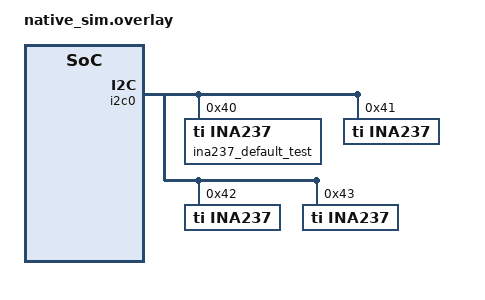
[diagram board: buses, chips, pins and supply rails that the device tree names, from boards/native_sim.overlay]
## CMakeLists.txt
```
# Copyright (c) 2023 North River Systems Ltd
# SPDX-License-Identifier: Apache-2.0

cmake_minimum_required(VERSION 3.20.0)
find_package(Zephyr REQUIRED HINTS $ENV{ZEPHYR_BASE})
project(device)

FILE(GLOB app_sources src/*.c)
target_sources(app PRIVATE ${app_sources})

# Include the INA23x driver path and unit-test path for private header inclusion
zephyr_include_directories(./src)
zephyr_include_directories(${ZEPHYR_BASE}/drivers/sensor/ti/ina23x)
```

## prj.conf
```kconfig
# Copyright (c) 2023 North River Systems Ltd
# SPDX-License-Identifier: Apache-2.0

CONFIG_ZTEST=y
CONFIG_SENSOR=y
CONFIG_EMUL=y

CONFIG_I2C_EMUL=y
CONFIG_I2C_LOG_LEVEL_DBG=y

CONFIG_INA237=y
CONFIG_INA237_VSHUNT=y

CONFIG_CBPRINTF_FP_SUPPORT=y
```

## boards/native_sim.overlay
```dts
/* Copyright (c) 2023 North River Systems Ltd
 * SPDX-License-Identifier: Apache-2.0
 */

#include <zephyr/dt-bindings/sensor/ina237.h>

&i2c0 {
	status = "okay";

	/* standard precision mode */
	ina237_default_test: ina237@40 {
		compatible = "ti,ina237";
		reg = <0x40>;
		rshunt-micro-ohms = <400>;
		current-lsb-microamps = <123>;
		status = "okay";
	};

	/* high precision mode */
	ina237@41 {
		compatible = "ti,ina237";
		reg = <0x41>;
		high-precision;
		rshunt-micro-ohms = <400>;
		current-lsb-microamps = <123>;
		status = "okay";
	};

	/* high precision mode, maximum current lsb */
	ina237@42 {
		compatible = "ti,ina237";
		reg = <0x42>;
		high-precision;
		rshunt-micro-ohms = <0x00ff>;
		current-lsb-microamps = <0xffff>;
		status = "okay";
	};

	/* high precision mode, maximum rshunt */
	ina237@43 {
		compatible = "ti,ina237";
		reg = <0x43>;
		high-precision;
		rshunt-micro-ohms = <0xffff>;
		current-lsb-microamps = <0x00ff>;
		status = "okay";
	};
};
```

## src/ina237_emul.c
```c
/*
 * Copyright (c) 2023 North River Systems Ltd
 *
 * SPDX-License-Identifier: Apache-2.0
 *
 * Emulator for the TI INA237 I2C power monitor
 */
#define DT_DRV_COMPAT ti_ina237

#include <zephyr/device.h>
#include <zephyr/drivers/emul.h>
#include <zephyr/drivers/i2c_emul.h>
#include <zephyr/drivers/i2c.h>
#include <zephyr/logging/log.h>
#include <zephyr/sys/byteorder.h>
#include <ina237.h>
#include <ina237_emul.h>

LOG_MODULE_REGISTER(INA237_EMUL, CONFIG_SENSOR_LOG_LEVEL);

/* Register ID, size, and value table */
struct ina237_reg {
	uint8_t id;
	uint8_t bytes;
	uint32_t value;
};

/* Emulator configuration passed into driver instance */
struct ina237_emul_cfg {
	uint16_t addr;
};

struct ina237_emul_data {
	struct ina237_reg ina237_regs[INA237_REGISTER_COUNT];
};

static struct ina237_reg *get_register(struct ina237_emul_data *data, int reg)
{
	for (int i = 0; i < INA237_REGISTER_COUNT; i++) {
		if (data->ina237_regs[i].id == reg) {
			return &data->ina237_regs[i];
		}
	}
	return NULL;
}

int ina237_mock_set_register(void *data_ptr, int reg, uint32_t value)
{
	struct ina237_reg *reg_ptr = get_register(data_ptr, reg);

	if (reg_ptr == NULL) {
		return -EINVAL;
	}

	reg_ptr->value = value;
	return 0;
}

int ina237_mock_get_register(void *data_ptr, int reg, uint32_t *value_ptr)
{
	struct ina237_reg *reg_ptr = get_register(data_ptr, reg);

	if (reg_ptr == NULL || value_ptr == NULL) {
		return -EINVAL;
	}

	*value_ptr = reg_ptr->value;
	return 0;
}

static int ina237_emul_transfer_i2c(const struct emul *target, struct i2c_msg msgs[], int num_msgs,
				    int addr)
{
	struct ina237_emul_data *data = (struct ina237_emul_data *)target->data;

	/* The INA237 uses big-endian read 16, read 24, and write 16 transactions */
	if (!msgs || num_msgs < 1 || num_msgs > 2) {
		LOG_ERR("Invalid number of messages: %d", num_msgs);
		return -EIO;
	}

	if (msgs[0].flags & I2C_MSG_READ) {
		LOG_ERR("Expected write");
		return -EIO;
	}

	if (num_msgs == 1) {
		/* Write16 Transaction */
		if (msgs[0].len != 3) {
			LOG_ERR("Expected 3 bytes");
			return -EIO;
		}

		/* Write 2 bytes */
		uint8_t reg = msgs[0].buf[0];
		uint16_t val = sys_get_be16(&msgs[0].buf[1]);

		struct ina237_reg *reg_ptr = get_register(data, reg);

		if (!reg_ptr) {
			LOG_ERR("Invalid register: %02x", reg);
			return -EIO;
		}
		reg_ptr->value = val;
		LOG_DBG("Write reg %02x: %04x", reg, val);
	} else {
		/* Read 2 or 3 bytes */
		if ((msgs[1].flags & I2C_MSG_READ) == I2C_MSG_WRITE) {
			LOG_ERR("Expected read");
			return -EIO;
		}
		uint8_t reg = msgs[0].buf[0];

		struct ina237_reg *reg_ptr = get_register(data, reg);

		if (!reg_ptr) {
			LOG_ERR("Invalid register: %02x", reg);
			return -EIO;
		}

		if (msgs[1].len == 2) {
			sys_put_be16(reg_ptr->value, msgs[1].buf);
			LOG_DBG("Read16 reg %02x: %04x", reg, reg_ptr->value);
		} else if (msgs[1].len == 3) {
			sys_put_be24(reg_ptr->value, msgs[1].buf);
			LOG_DBG("Read24 reg %02x: %06x", reg, reg_ptr->value);
		} else {
			LOG_ERR("Invalid read length: %d", msgs[1].len);
			return -EIO;
		}
	}

	return 0;
}

static int ina237_emul_init(const struct emul *target, const struct device *parent)
{
	ARG_UNUSED(target);
	ARG_UNUSED(parent);

	return 0;
}

static const struct i2c_emul_api ina237_emul_api_i2c = {
	.transfer = ina237_emul_transfer_i2c,
};

#define INA237_EMUL(n)									\
	static const struct ina237_emul_cfg ina237_emul_cfg_##n = {			\
		.addr = DT_INST_REG_ADDR(n)						\
	};										\
	static struct ina237_emul_data ina237_emul_data_##n = {				\
		.ina237_regs = {							\
			{INA237_REG_CONFIG, 2, 0},					\
			{INA237_REG_ADC_CONFIG, 2, 0xFB68},				\
			{INA237_REG_CALIB, 2, 0x1000},					\
			{INA237_REG_SHUNT_VOLT, 2, 0},					\
			{INA237_REG_BUS_VOLT, 2, 0},					\
			{INA237_REG_DIETEMP, 2, 0},					\
			{INA237_REG_CURRENT, 2, 0},					\
			{INA237_REG_POWER, 3, 0},					\
			{INA237_REG_ALERT, 2, 0x0001},					\
			{INA237_REG_SOVL, 2, 0x7FFF},					\
			{INA237_REG_SUVL, 2, 0x8000},					\
			{INA237_REG_BOVL, 2, 0x7FFF},					\
			{INA237_REG_BUVL, 2, 0},					\
			{INA237_REG_TEMP_LIMIT, 2, 0x7FFF},				\
			{INA237_REG_PWR_LIMIT, 2, 0xFFFF},				\
			{INA237_REG_MANUFACTURER_ID, 2, INA237_MANUFACTURER_ID},	\
		}};									\
	EMUL_DT_INST_DEFINE(n, ina237_emul_init, &ina237_emul_data_##n, &ina237_emul_cfg_##n, \
			    &ina237_emul_api_i2c, NULL)

DT_INST_FOREACH_STATUS_OKAY(INA237_EMUL)
```

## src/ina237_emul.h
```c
/*
 * Copyright (c) 2023 North River Systems Ltd
 *
 * SPDX-License-Identifier: Apache-2.0
 *
 * Emulator for the TI INA237 I2C power monitor
 */
#ifndef INA237_EMUL_H_
#define INA237_EMUL_H_

#define INA237_REGISTER_COUNT 16

int ina237_mock_set_register(void *data_ptr, int reg, uint32_t value);
int ina237_mock_get_register(void *data_ptr, int reg, uint32_t *value_ptr);

#endif /* INA237_EMUL_H_ */
```

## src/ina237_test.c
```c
/*
 * Copyright (c) 2023 North River Systems Ltd
 * SPDX-License-Identifier: Apache-2.0
 */

#include <zephyr/device.h>
#include <zephyr/devicetree.h>
#include <zephyr/drivers/emul.h>
#include <zephyr/drivers/i2c_emul.h>
#include <zephyr/drivers/sensor.h>
#include <zephyr/dt-bindings/sensor/ina237.h>
#include <zephyr/ztest.h>

#include <ina237_emul.h>
#include <ina237.h>

struct ina237_fixture {
	const struct device *dev;
	const struct emul *mock;
	const uint16_t current_lsb_uA;
	const uint16_t rshunt_uOhms;
	const uint16_t config;
};

/**
 * @brief Verify devicetree default configuration is correct.
 */
ZTEST(ina237_0, test_default_config)
{
	const struct ina237_config *config;
	const struct device *dev = DEVICE_DT_GET(DT_NODELABEL(ina237_default_test));

	zassert_not_null(dev);
	config = dev->config;
	zassert_not_null(config);

	/* confirm default DT settings */
	zexpect_equal(0xFB68, config->adc_config,
		"0xFB68 != adc_config (0x%x)", config->adc_config);
	zexpect_equal(0x0000, config->config);
}

/**
 * @brief Verify bus voltages for all ina237 nodes in DT
 *
 * @param fixture
 */

static void test_shunt_cal(struct ina237_fixture *fixture)
{
	/* Confirm SHUNT_CAL register which is 819.2e6 * Current_LSB * Rshunt */
	double shunt_cal = 819.2e6 * fixture->current_lsb_uA * 1e-6 * fixture->rshunt_uOhms * 1e-6;

	if (fixture->config & INA237_CFG_HIGH_PRECISION) {
		/* High precision mode */
		shunt_cal *= 4;
	}

	uint32_t shunt_register_actual;
	uint16_t shunt_register_expected = (uint16_t)shunt_cal;

	zassert_ok(ina237_mock_get_register(fixture->mock->data, INA237_REG_CALIB,
		&shunt_register_actual));
	zexpect_within(shunt_register_expected, shunt_register_actual, 1,
		"Expected %d, got %d", shunt_register_expected, shunt_register_actual);
}

static void test_current(struct ina237_fixture *fixture)
{
	/* 16-bit signed value for current register */
	const int16_t current_reg_vectors[] = {
		32767,
		1000,
		100,
		1,
		0,
		-1,
		-100,
		-1000,
		-32768,
	};

	for (int idx = 0; idx < ARRAY_SIZE(current_reg_vectors); idx++) {
		struct sensor_value sensor_val;
		int16_t current_register = current_reg_vectors[idx];
		double current_expected_A = fixture->current_lsb_uA * 1e-6 * current_register;

		/* set current reading */
		ina237_mock_set_register(fixture->mock->data, INA237_REG_CURRENT, current_register);

		/* Verify sensor value is correct */
		zassert_ok(sensor_sample_fetch(fixture->dev));
		zassert_ok(sensor_channel_get(fixture->dev, SENSOR_CHAN_CURRENT, &sensor_val));
		double current_actual_A = sensor_value_to_double(&sensor_val);

		zexpect_within(current_expected_A, current_actual_A, fixture->current_lsb_uA*1e-6,
			"Expected %.6f A, got %.6f A", current_expected_A, current_actual_A);
	}
}

static void test_bus_voltage(struct ina237_fixture *fixture)
{
	zassert_not_null(fixture->mock);

	/* 16-bit signed value for voltage register (but always positive) 3.125 mV/bit */
	const int16_t voltage_reg_vectors[] = {
		32767,
		27200,	/* 85V maximum voltage */
		1000,
		100,
		1,
		0,
	};

	for (int idx = 0; idx < ARRAY_SIZE(voltage_reg_vectors); idx++) {
		struct sensor_value sensor_val;

		ina237_mock_set_register(fixture->mock->data, INA237_REG_BUS_VOLT,
			voltage_reg_vectors[idx]);

		/* Verify sensor value is correct */
		zassert_ok(sensor_sample_fetch(fixture->dev));
		zassert_ok(sensor_channel_get(fixture->dev, SENSOR_CHAN_VOLTAGE, &sensor_val));

		double voltage_actual_V = sensor_value_to_double(&sensor_val);
		double voltage_expected_V = voltage_reg_vectors[idx] * 3.125e-3;

		zexpect_within(voltage_expected_V, voltage_actual_V, 1e-6,
			"Expected %.6f A, got %.6f A", voltage_expected_V, voltage_actual_V);
	}
}

static void test_power(struct ina237_fixture *fixture)
{
	/* 24-bit unsigned value for power register */
	const uint32_t power_reg_vectors[] = {
		16777215,
		65535,
		32767,
		1000,
		100,
		1,
		0,
	};

	for (int idx = 0; idx < ARRAY_SIZE(power_reg_vectors); idx++) {
		struct sensor_value sensor_val;
		uint32_t power_register = power_reg_vectors[idx];

		/* power is 0.2 * current_lsb * register */
		double power_expected_W = 0.2 * fixture->current_lsb_uA * 1e-6 * power_register;

		/* set current reading */
		ina237_mock_set_register(fixture->mock->data, INA237_REG_POWER, power_register);

		/* Verify sensor value is correct */
		zassert_ok(sensor_sample_fetch(fixture->dev));
		zassert_ok(sensor_channel_get(fixture->dev, SENSOR_CHAN_POWER, &sensor_val));
		double power_actual_W = sensor_value_to_double(&sensor_val);

		zexpect_within(power_expected_W, power_actual_W, 1e-6,
			"Expected %.6f C, got %.6f C", power_expected_W, power_actual_W);
	}
}

static void test_temperature(struct ina237_fixture *fixture)
{
	zassert_not_null(fixture->mock);

	/* 12-bit signed value with bottom 4-bits reserved - 125 mDegC / bit */
	const int16_t temp_reg_vectors[] = {
		16000,	/* 125C */
		1000,
		100,
		1,
		0,
		-100,
		-1000,
		-5120,	/* -40C */
	};

	for (int idx = 0; idx < ARRAY_SIZE(temp_reg_vectors); idx++) {
		struct sensor_value sensor_val;

		ina237_mock_set_register(fixture->mock->data, INA237_REG_DIETEMP,
		temp_reg_vectors[idx]);

		/* Verify sensor value is correct */
		zassert_ok(sensor_sample_fetch(fixture->dev));
		zassert_ok(sensor_channel_get(fixture->dev, SENSOR_CHAN_DIE_TEMP, &sensor_val));

		double temp_actual_degC = sensor_value_to_double(&sensor_val);
		double temp_expected_degC = (temp_reg_vectors[idx] / 16) * 125e-3;

		zexpect_within(temp_expected_degC, temp_actual_degC, 125e-3,
			"Expected %.6f A, got %.6f A", temp_expected_degC, temp_actual_degC);
	}
}

static void test_vshunt(struct ina237_fixture *fixture)
{
	zassert_not_null(fixture->mock);

	/* 16-bit signed value for voltage register (but always positive) 3.125 mV/bit */
	const int16_t vshunt_reg_vectors[] = {
		32767,	/* maximum shunt voltage of 163.84 mV or 40.96 mV */
		27200,
		1000,
		100,
		1,
		0,
		-1,
		-100,
		-1000,
		-32768,	/* minimum shunt voltage of -163.84 mV or -40.96 mV */
	};

	for (int idx = 0; idx < ARRAY_SIZE(vshunt_reg_vectors); idx++) {
		struct sensor_value sensor_val;

		ina237_mock_set_register(fixture->mock->data, INA237_REG_SHUNT_VOLT,
			vshunt_reg_vectors[idx]);

		/* Verify sensor value is correct */
		zassert_ok(sensor_sample_fetch_chan(fixture->dev, SENSOR_CHAN_VSHUNT));
		zassert_ok(sensor_channel_get(fixture->dev, SENSOR_CHAN_VSHUNT, &sensor_val));

		double vshunt_actual_mV = sensor_value_to_double(&sensor_val);
		double vshunt_expected_mV = vshunt_reg_vectors[idx];

		if (fixture->config & INA237_CFG_HIGH_PRECISION) {
			/* High precision mode - 1.25 uV/bit = 1250 nV/bit*/
			vshunt_expected_mV *= 1000 * 1.250e-6;
		} else {
			/* Standard precision mode - 5 uV/bit = 5000 nV/bit */
			vshunt_expected_mV *= 1000 * 5e-6;
		}

		zexpect_within(vshunt_expected_mV, vshunt_actual_mV, 1e-9,
			"For %d, Expected %.6f mV, got %.6f mV", vshunt_reg_vectors[idx],
			vshunt_expected_mV, vshunt_actual_mV);
	}
}

/* Create a test fixture for each enabled ina237 device node */
#define DT_DRV_COMPAT ti_ina237
#define INA237_FIXTURE_ENTRY(inst) \
	{ \
		.dev = DEVICE_DT_INST_GET(inst), \
		.mock = EMUL_DT_GET(DT_DRV_INST(inst)), \
		.current_lsb_uA = DT_INST_PROP(inst, current_lsb_microamps), \
		.rshunt_uOhms = DT_INST_PROP(inst, rshunt_micro_ohms), \
		.config = DT_INST_PROP(inst, config), \
	},

static struct ina237_fixture fixtures[] = {
	DT_INST_FOREACH_STATUS_OKAY(INA237_FIXTURE_ENTRY)
};

/* Create a test suite for each enabled ina237 device node */
#define INA237_TESTS(inst) \
	ZTEST(ina237_##inst, test_shunt_cal) { test_shunt_cal(&fixtures[inst]); } \
	ZTEST(ina237_##inst, test_current) { test_current(&fixtures[inst]); } \
	ZTEST(ina237_##inst, test_bus_voltage) { test_bus_voltage(&fixtures[inst]); } \
	ZTEST(ina237_##inst, test_power) { test_power(&fixtures[inst]); } \
	ZTEST(ina237_##inst, test_temperature) { test_temperature(&fixtures[inst]); } \
	ZTEST(ina237_##inst, test_vshunt) { test_vshunt(&fixtures[inst]); } \
	ZTEST_SUITE(ina237_##inst, NULL, NULL, NULL, NULL, NULL);

DT_INST_FOREACH_STATUS_OKAY(INA237_TESTS)
```
